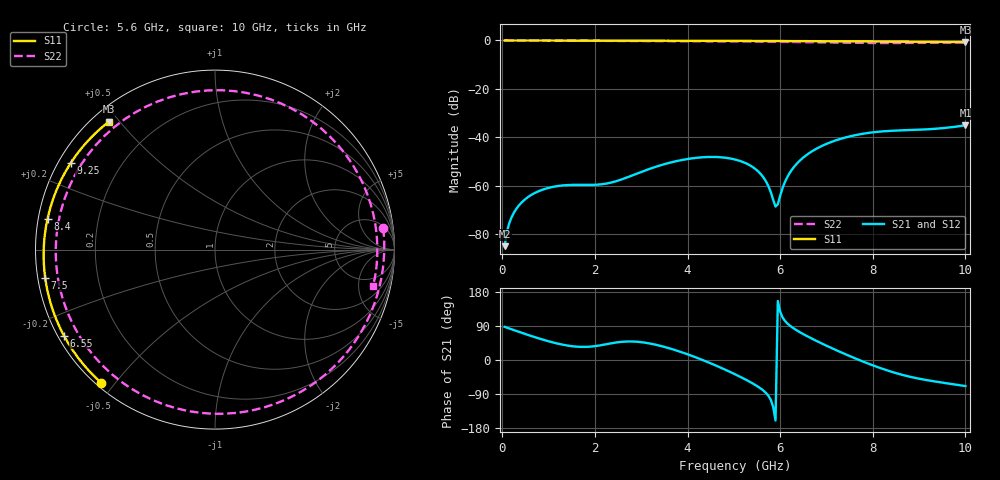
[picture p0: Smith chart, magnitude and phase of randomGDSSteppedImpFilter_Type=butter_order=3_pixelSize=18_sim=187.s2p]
! freq	dB(S11)	phase(S11)	dB(S12)	phase(S12)
!  dB(S21)	phase(S21)	dB(S22)	phase(S22)
!S-par simulation data
#  GHz  S  DB  R 50
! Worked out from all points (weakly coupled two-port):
!   200 points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, 50 MHz to 10 GHz, reference 50 ohm
!   highest |S21| = -35.07 dB at 10 GHz (marker M1); lowest = -85.0 dB at 50 MHz (marker M2)
!   lowest |S11| = -0.7 dB at 10 GHz (marker M3), VSWR 25.96, Z = 2.35 + j23.5 ohm
!   |S11| at or under -10 dB: nowhere
!   |S22| runs from -1.1 to 0.0 dB; largest |S21 - S12| = 0
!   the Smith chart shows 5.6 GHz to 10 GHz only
!   S11 on the Smith chart (normalised r, x): 5.6 GHz: 0.01, -0.46; 6.55 GHz: 0.02, -0.26; 7.5 GHz: 0.02, -0.08; 8.4 GHz: 0.03, +0.09; 9.25 GHz: 0.03, +0.28; 10 GHz: 0.05, +0.47
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0.05  -0.00 -1.3  -84.99 87.6  -84.99 87.6  -0.01 -3.2
0.3  -0.01 -7.8  -69.65 76.8  -69.65 76.8  -0.02 -19.1
0.6  -0.02 -15.5  -64.13 64.3  -64.13 64.3  -0.04 -37.9
1.2  -0.04 -30.7  -60.13 43.2  -60.13 43.2  -0.09 -74.4
1.75  -0.06 -44.3  -59.65 34.5  -59.65 34.5  -0.12 -106.3
2.65  -0.08 -65.9  -56.90 48.6  -56.90 48.6  -0.17 -156.3
3.4  -0.11 -83.2  -51.68 37.8  -51.68 37.8  -0.22 161.4
4.3  -0.14 -103.0  -48.29 1.2  -48.29 1.2  -0.30 105.5
5.05  -0.18 -119.0  -49.30 -39.1  -49.30 -39.1  -0.39 51.3
5.6  -0.21 -130.5  -55.63 -77.0  -55.63 -77.0  -0.49 7.3
5.9  -0.23 -136.8  -68.62 -159.6  -68.62 -159.6  -0.55 -17.8
6.2  -0.25 -143.0  -54.92 91.7  -54.92 91.7  -0.62 -43.4
6.55  -0.28 -150.3  -47.61 64.9  -47.61 64.9  -0.72 -73.4
6.7  -0.29 -153.5  -45.65 55.5  -45.65 55.5  -0.76 -86.4
7.1  -0.33 -161.9  -41.97 32.0  -41.97 32.0  -0.87 -121.3
7.5  -0.36 -170.5  -39.65 10.4  -39.65 10.4  -0.98 -156.8
7.9  -0.40 -179.2  -38.22 -9.4  -38.22 -9.4  -1.06 166.7
8.35  -0.45 170.7  -37.38 -29.0  -37.38 -29.0  -1.07 124.8
8.4  -0.46 169.5  -37.32 -30.9  -37.32 -30.9  -1.07 120.1
8.8  -0.51 160.1  -37.02 -44.1  -37.02 -44.1  -1.02 83.3
9.25  -0.56 149.2  -36.63 -54.8  -36.63 -54.8  -0.93 44.2
10  -0.67 129.6  -35.07 -68.9  -35.07 -68.9  -0.87 -12.9
